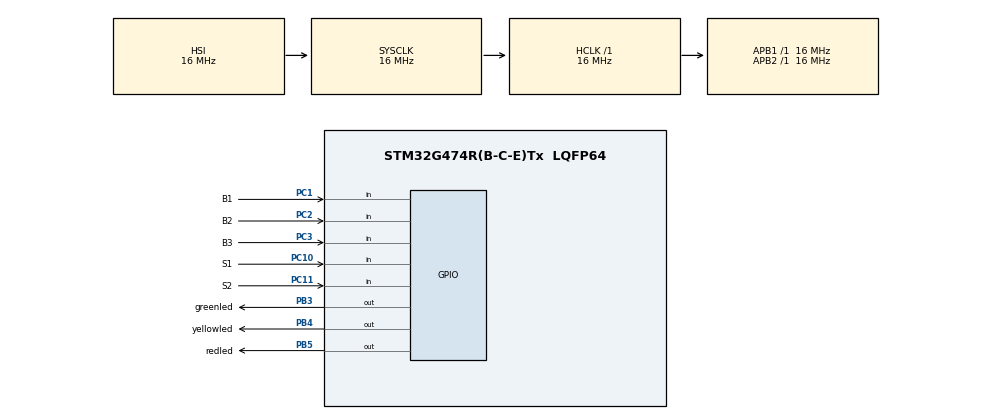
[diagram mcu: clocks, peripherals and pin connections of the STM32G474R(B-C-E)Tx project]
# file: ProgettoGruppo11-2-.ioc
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Mcu.Family=STM32G4
Mcu.Name=STM32G474R(B-C-E)Tx
Mcu.Package=LQFP64
NVIC.PriorityGroup=NVIC_PRIORITYGROUP_4
PB3.GPIO_Label=greenled
PB3.Signal=GPIO_Output
PB4.GPIO_Label=yellowled
PB4.Signal=GPIO_Output
PB5.GPIO_Label=redled
PB5.Signal=GPIO_Output
PC1.GPIO_Label=B1
PC1.Signal=GPIO_Input
PC10.GPIO_Label=S1
PC10.GPIO_PuPd=GPIO_PULLDOWN
PC10.Signal=GPIO_Input
PC11.GPIO_Label=S2
PC11.Signal=GPIO_Input
PC2.GPIO_Label=B2
PC2.Signal=GPIO_Input
PC3.GPIO_Label=B3
PC3.Signal=GPIO_Input
ProjectManager.HeapSize=0x200
ProjectManager.StackSize=0x400
ProjectManager.TargetToolchain=STM32CubeIDE
RCC.AHBFreq_Value=16000000
RCC.APB1Freq_Value=16000000
RCC.APB1TimFreq_Value=16000000
RCC.APB2Freq_Value=16000000
RCC.APB2TimFreq_Value=16000000
RCC.CortexFreq_Value=16000000
RCC.EXTERNAL_CLOCK_VALUE=12288000
RCC.HCLKFreq_Value=16000000
RCC.HSE_VALUE=8000000
RCC.HSI48_VALUE=48000000
RCC.HSI_VALUE=16000000
RCC.LSE_VALUE=32768
RCC.SYSCLKFreq_VALUE=16000000
RCC.USBFreq_Value=64000000
RCC.VCOOutputFreq_Value=128000000
VP_SYS_VS_DBSignals.Mode=DisableDeadBatterySignals
board=custom

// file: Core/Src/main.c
/* USER CODE BEGIN Header */
/**
  ******************************************************************************
  * @file           : main.c
  * @brief          : Main program body
  ******************************************************************************
  * @attention
  *
  * Copyright (c) 2024 STMicroelectronics.
  * All rights reserved.
  *
  * This software is licensed under terms that can be found in the LICENSE file
  * in the root directory of this software component.
  * If no LICENSE file comes with this software, it is provided AS-IS.
  *
  ******************************************************************************
  */
/* USER CODE END Header */
#include "main.h"
#include "gpio.h"

/* USER CODE BEGIN Includes */
#include "Sistema_2022b.h"

/* USER CODE END Includes */

void SystemClock_Config(void);

/* USER CODE BEGIN 0 */
static void Sistema_2022b_read_inputs(){
    rtU.button1 = !HAL_GPIO_ReadPin(GPIOC, B1_Pin);
    rtU.button2 = !HAL_GPIO_ReadPin(GPIOC, B2_Pin);
    rtU.button3 = !HAL_GPIO_ReadPin(GPIOC, B3_Pin);
    rtU.sensor1 = !HAL_GPIO_ReadPin(GPIOC, S1_Pin);
    rtU.sensor2 = !HAL_GPIO_ReadPin(GPIOC, S2_Pin);
}

static void Sistema_2022b_write_outputs(){
    HAL_GPIO_WritePin(GPIOB, GPIO_PIN_5, rtY.redled);
    HAL_GPIO_WritePin(GPIOB, GPIO_PIN_4, rtY.yellowled);
    HAL_GPIO_WritePin(GPIOB, GPIO_PIN_3, rtY.greenled);
}
/* USER CODE END 0 */

int main(void)
{

  /* MCU Configuration--------------------------------------------------------*/

  /* Reset of all peripherals, Initializes the Flash interface and the Systick. */
  HAL_Init();

  /* Configure the system clock */
  SystemClock_Config();

  /* Initialize all configured peripherals */
  MX_GPIO_Init();
  /* USER CODE BEGIN 2 */
  Sistema_2022b_initialize();

  /* USER CODE END 2 */

  /* Infinite loop */
  while (1)
  {

    /* USER CODE BEGIN 3 */
	  uint32_t start, elapsed;
	start = HAL_GetTick();

	Sistema_2022b_read_inputs();
	Sistema_2022b_step();  //PRESTARE ATTENZIONE AL NOME CORRETTO DELLA FUNZIONE DI STEP DELL'AUTOMA DEFINITO NELL'HEADER FILE GENERATO DA MATLAB
	Sistema_2022b_write_outputs();

   elapsed = HAL_GetTick() - start;
   HAL_Delay(100-elapsed);
}
  /* USER CODE END 3 */
}

void SystemClock_Config(void)
{
  RCC_OscInitTypeDef RCC_OscInitStruct = {0};
  RCC_ClkInitTypeDef RCC_ClkInitStruct = {0};

  /** Configure the main internal regulator output voltage
  */
  HAL_PWREx_ControlVoltageScaling(PWR_REGULATOR_VOLTAGE_SCALE1);

  /** Initializes the RCC Oscillators according to the specified parameters
  * in the RCC_OscInitTypeDef structure.
  */
  RCC_OscInitStruct.OscillatorType = RCC_OSCILLATORTYPE_HSI;
  RCC_OscInitStruct.HSIState = RCC_HSI_ON;
  RCC_OscInitStruct.HSICalibrationValue = RCC_HSICALIBRATION_DEFAULT;
  RCC_OscInitStruct.PLL.PLLState = RCC_PLL_NONE;
  if (HAL_RCC_OscConfig(&RCC_OscInitStruct) != HAL_OK)
  {
    Error_Handler();
  }

  /** Initializes the CPU, AHB and APB buses clocks
  */
  RCC_ClkInitStruct.ClockType = RCC_CLOCKTYPE_HCLK|RCC_CLOCKTYPE_SYSCLK
                              |RCC_CLOCKTYPE_PCLK1|RCC_CLOCKTYPE_PCLK2;
  RCC_ClkInitStruct.SYSCLKSource = RCC_SYSCLKSOURCE_HSI;
  RCC_ClkInitStruct.AHBCLKDivider = RCC_SYSCLK_DIV1;
  RCC_ClkInitStruct.APB1CLKDivider = RCC_HCLK_DIV1;
  RCC_ClkInitStruct.APB2CLKDivider = RCC_HCLK_DIV1;

  if (HAL_RCC_ClockConfig(&RCC_ClkInitStruct, FLASH_LATENCY_0) != HAL_OK)
  {
    Error_Handler();
  }
}

void Error_Handler(void)
{
  __disable_irq();
  while (1)
  {
  }
}
